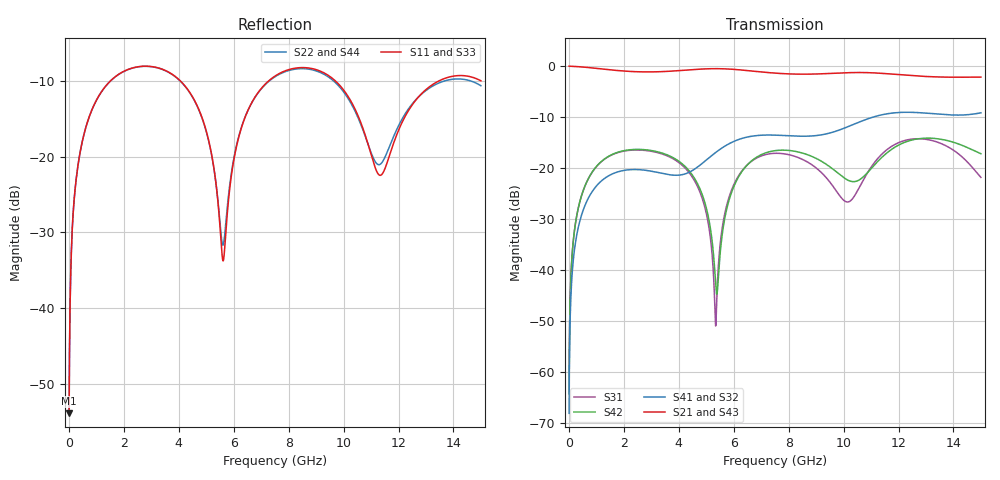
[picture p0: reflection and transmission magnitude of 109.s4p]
! Created with skrf 1.8.0 (http://scikit-rf.org).
# GHz S RI R 50.0
!freq ReS11 ImS11 ReS12 ImS12 ReS13 ImS13
! ReS14 ImS14
! ReS21 ImS21 ReS22 ImS22 ReS23 ImS23
! ReS24 ImS24
! ReS31 ImS31 ReS32 ImS32 ReS33 ImS33
! ReS34 ImS34
! ReS41 ImS41 ReS42 ImS42 ReS43 ImS43
! ReS44 ImS44
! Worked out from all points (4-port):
!   2499 points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, 5 MHz to 15 GHz, reference 50 ohm
!   strongest paths, dB at 5 MHz, 3.476 GHz, 7.19 GHz, 11.1 GHz, 15 GHz:
!     S21: 0.0, -1.1, -1.2, -1.3, -2.2
!     S43: 0.0, -1.1, -1.2, -1.3, -2.1
!     S41: -68.1, -21.1, -13.5, -10.0, -9.2
!     S32: -68.1, -21.2, -13.5, -10.0, -9.2
!     S42: -64.3, -17.2, -17.0, -19.6, -17.2
!     S31: -64.3, -17.4, -17.3, -19.1, -21.8
!   lowest |S11| = -53.9 dB at 5 MHz (marker M1), VSWR 1.00, Z = 50.2 + j0.122 ohm
!   |S11| at or under -10 dB: start of sweep to 1.509 GHz; 4.057 GHz to 7.27 GHz (3.213 GHz wide, 56.7 % of centre); 9.702 GHz to 13.47 GHz (3.767 GHz wide, 32.5 % of centre)
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0.005  0.0016 0.00122  0.9984 -0.00312  7.92e-05 0.000607  -7.72e-05 -0.000385
       0.9984 -0.00312  0.0016 0.00122  -7.72e-05 -0.000385  7.93e-05 0.000606
       7.92e-05 0.000607  -7.72e-05 -0.000385  0.0016 0.00122  0.9984 -0.00312
       -7.72e-05 -0.000385  7.93e-05 0.000606  0.9984 -0.00312  0.0016 0.00122
0.3626511  0.029 0.0918  0.9602 -0.2233  0.013 0.0412  -0.011 -0.0256
           0.9602 -0.2233  0.0289 0.0918  -0.011 -0.0256  0.0133 0.0411
           0.013 0.0412  -0.011 -0.0256  0.029 0.0918  0.9602 -0.2233
           -0.011 -0.0256  0.0133 0.0411  0.9602 -0.2233  0.0289 0.0918
1.619545  0.2777 0.1778  0.5365 -0.738  0.1234 0.0588  -0.0884 -0.00423
          0.5365 -0.738  0.2766 0.1786  -0.0884 -0.00427  0.1264 0.0547
          0.1234 0.0588  -0.0884 -0.00427  0.2777 0.1778  0.5365 -0.738
          -0.0884 -0.00423  0.1264 0.0547  0.5365 -0.738  0.2766 0.1786
5.339725  0.0299 -0.0629  -0.9193 -0.2129  0.0028 -0.000317  -0.0273 0.1393
          -0.9193 -0.2129  0.0351 -0.0601  -0.0278 0.1392  -0.00628 -0.004
          0.0028 -0.000317  -0.0278 0.1392  0.03 -0.0618  -0.9195 -0.2125
          -0.0273 0.1393  -0.00628 -0.004  -0.9195 -0.2125  0.0345 -0.0591
8.684869  0.385 -0.0279  0.0102 0.8335  0.0882 -0.0731  0.1999 -0.0468
          0.0102 0.8335  0.3787 -0.0226  0.1999 -0.0457  0.0882 -0.1025
          0.0882 -0.0731  0.1999 -0.0457  0.3886 -0.0287  0.00995 0.832
          0.1999 -0.0468  0.0882 -0.1025  0.00995 0.832  0.382 -0.0218
11.49854  0.08 0.0204  0.845 -0.00114  0.0257 0.1431  -0.0128 -0.337
          0.845 -0.00114  0.0949 0.026  -0.0109 -0.3368  0.0123 0.1345
          0.0257 0.1431  -0.0109 -0.3368  0.081 0.0142  0.8451 0.00164
          -0.0128 -0.337  0.0123 0.1345  0.8451 0.00164  0.094 0.0194
15  0.3049 -0.0867  -0.2265 -0.7467  -0.00748 -0.0806  -0.3282 0.1161
    -0.2265 -0.7467  0.2853 -0.0712  -0.3292 0.113  -0.0214 -0.1366
    -0.00748 -0.0806  -0.3292 0.113  0.3014 -0.0876  -0.2263 -0.748
    -0.3282 0.1161  -0.0214 -0.1366  -0.2263 -0.748  0.2826 -0.0681
